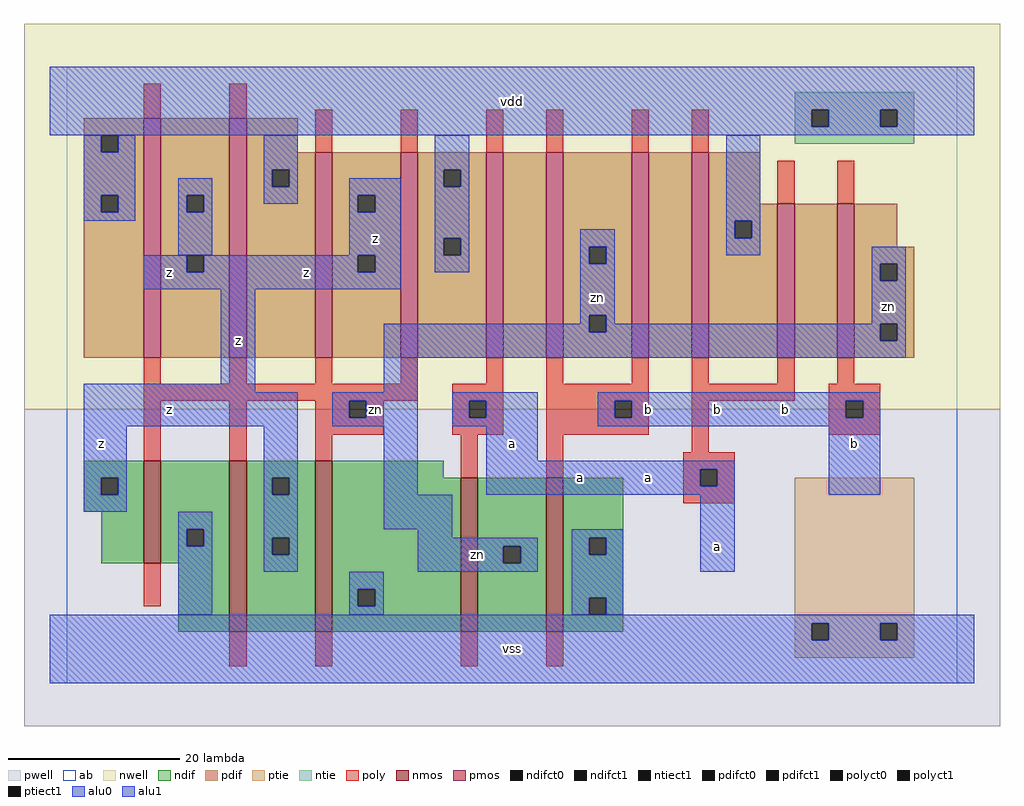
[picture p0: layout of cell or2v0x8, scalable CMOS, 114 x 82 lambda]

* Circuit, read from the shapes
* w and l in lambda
.subckt or2v0x8 a b vdd vss z zn
M1 vss zn z vss nfet w=12 l=2
M2 z zn vss vss nfet w=20 l=2 m=2
M3 zn a vss vss nfet w=18 l=2
M4 vss b zn vss nfet w=18 l=2
M5 z zn vdd vdd pfet w=28 l=2 m=2
M6 z zn vdd vdd pfet w=24 l=2 m=2
M7 n1 a vdd vdd pfet w=24 l=2
M8 zn b n1 vdd pfet w=24 l=2
M9 n2 b zn vdd pfet w=24 l=2
M10 vdd a n2 vdd pfet w=24 l=2
M11 n3 a vdd vdd pfet w=18 l=2
M12 zn b n3 vdd pfet w=18 l=2
.ends

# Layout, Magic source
magic
tech scmos
<< ab >>
rect 0 0 104 72
<< nwell >>
rect -5 32 109 77
<< pwell >>
rect -5 -5 109 32
<< poly >>
rect 9 66 11 70
rect 19 66 21 70
rect 29 62 31 67
rect 39 62 41 67
rect 49 62 51 67
rect 56 62 58 67
rect 66 62 68 67
rect 73 62 75 67
rect 83 56 85 61
rect 90 56 92 61
rect 9 35 11 38
rect 19 35 21 38
rect 29 35 31 38
rect 39 35 41 38
rect 49 35 51 38
rect 9 33 41 35
rect 45 33 51 35
rect 9 26 11 33
rect 19 26 21 33
rect 29 31 33 33
rect 35 31 37 33
rect 29 29 37 31
rect 45 31 47 33
rect 49 31 51 33
rect 45 29 51 31
rect 56 35 58 38
rect 66 35 68 38
rect 56 33 68 35
rect 56 31 64 33
rect 66 31 68 33
rect 56 29 68 31
rect 73 35 75 38
rect 83 35 85 38
rect 90 35 92 38
rect 73 33 85 35
rect 89 33 95 35
rect 29 26 31 29
rect 9 9 11 14
rect 46 24 48 29
rect 56 24 58 29
rect 73 27 75 33
rect 89 31 91 33
rect 93 31 95 33
rect 89 29 95 31
rect 72 25 78 27
rect 72 23 74 25
rect 76 23 78 25
rect 72 21 78 23
rect 19 2 21 6
rect 29 2 31 6
rect 46 2 48 6
rect 56 2 58 6
<< ndif >>
rect 2 24 9 26
rect 2 22 4 24
rect 6 22 9 24
rect 2 20 9 22
rect 4 14 9 20
rect 11 18 19 26
rect 11 16 14 18
rect 16 16 19 18
rect 11 14 19 16
rect 13 6 19 14
rect 21 24 29 26
rect 21 22 24 24
rect 26 22 29 24
rect 21 17 29 22
rect 21 15 24 17
rect 26 15 29 17
rect 21 6 29 15
rect 31 24 44 26
rect 31 11 46 24
rect 31 9 34 11
rect 36 9 46 11
rect 31 6 46 9
rect 48 16 56 24
rect 48 14 51 16
rect 53 14 56 16
rect 48 6 56 14
rect 58 17 65 24
rect 58 15 61 17
rect 63 15 65 17
rect 58 10 65 15
rect 58 8 61 10
rect 63 8 65 10
rect 58 6 65 8
<< pdif >>
rect 2 64 9 66
rect 2 62 4 64
rect 6 62 9 64
rect 2 57 9 62
rect 2 55 4 57
rect 6 55 9 57
rect 2 38 9 55
rect 11 57 19 66
rect 11 55 14 57
rect 16 55 19 57
rect 11 50 19 55
rect 11 48 14 50
rect 16 48 19 50
rect 11 38 19 48
rect 21 62 27 66
rect 21 60 29 62
rect 21 58 24 60
rect 26 58 29 60
rect 21 38 29 58
rect 31 57 39 62
rect 31 55 34 57
rect 36 55 39 57
rect 31 50 39 55
rect 31 48 34 50
rect 36 48 39 50
rect 31 38 39 48
rect 41 60 49 62
rect 41 58 44 60
rect 46 58 49 60
rect 41 52 49 58
rect 41 50 44 52
rect 46 50 49 52
rect 41 38 49 50
rect 51 38 56 62
rect 58 51 66 62
rect 58 49 61 51
rect 63 49 66 51
rect 58 43 66 49
rect 58 41 61 43
rect 63 41 66 43
rect 58 38 66 41
rect 68 38 73 62
rect 75 56 81 62
rect 75 54 83 56
rect 75 52 78 54
rect 80 52 83 54
rect 75 38 83 52
rect 85 38 90 56
rect 92 51 97 56
rect 92 49 99 51
rect 92 47 95 49
rect 97 47 99 49
rect 92 42 99 47
rect 92 40 95 42
rect 97 40 99 42
rect 92 38 99 40
<< alu1 >>
rect -2 67 106 72
rect -2 65 87 67
rect 89 65 95 67
rect 97 65 106 67
rect -2 64 106 65
rect 33 57 39 59
rect 33 55 34 57
rect 36 55 39 57
rect 33 50 39 55
rect 9 48 14 50
rect 16 48 34 50
rect 36 48 39 50
rect 9 46 39 48
rect 18 35 22 46
rect 2 34 22 35
rect 2 30 27 34
rect 45 33 55 34
rect 45 31 47 33
rect 49 31 55 33
rect 45 30 55 31
rect 62 33 95 34
rect 62 31 64 33
rect 66 31 91 33
rect 93 31 95 33
rect 62 30 95 31
rect 2 24 7 30
rect 2 22 4 24
rect 6 22 7 24
rect 2 20 7 22
rect 23 24 27 30
rect 23 22 24 24
rect 26 22 27 24
rect 23 17 27 22
rect 49 26 55 30
rect 49 25 78 26
rect 49 23 74 25
rect 76 23 78 25
rect 49 22 78 23
rect 89 22 95 30
rect 23 15 24 17
rect 26 15 27 17
rect 23 13 27 15
rect 74 13 78 22
rect -2 7 106 8
rect -2 5 87 7
rect 89 5 95 7
rect 97 5 106 7
rect -2 0 106 5
<< ptie >>
rect 85 7 99 24
rect 85 5 87 7
rect 89 5 95 7
rect 97 5 99 7
rect 85 3 99 5
<< ntie >>
rect 85 67 99 69
rect 85 65 87 67
rect 89 65 95 67
rect 97 65 99 67
rect 85 63 99 65
<< nmos >>
rect 9 14 11 26
rect 19 6 21 26
rect 29 6 31 26
rect 46 6 48 24
rect 56 6 58 24
<< pmos >>
rect 9 38 11 66
rect 19 38 21 66
rect 29 38 31 62
rect 39 38 41 62
rect 49 38 51 62
rect 56 38 58 62
rect 66 38 68 62
rect 73 38 75 62
rect 83 38 85 56
rect 90 38 92 56
<< polyct0 >>
rect 33 31 35 33
<< polyct1 >>
rect 47 31 49 33
rect 64 31 66 33
rect 91 31 93 33
rect 74 23 76 25
<< ndifct0 >>
rect 14 16 16 18
rect 34 9 36 11
rect 51 14 53 16
rect 61 15 63 17
rect 61 8 63 10
<< ndifct1 >>
rect 4 22 6 24
rect 24 22 26 24
rect 24 15 26 17
<< ntiect1 >>
rect 87 65 89 67
rect 95 65 97 67
<< ptiect1 >>
rect 87 5 89 7
rect 95 5 97 7
<< pdifct0 >>
rect 4 62 6 64
rect 4 55 6 57
rect 14 55 16 57
rect 24 58 26 60
rect 44 58 46 60
rect 44 50 46 52
rect 61 49 63 51
rect 61 41 63 43
rect 78 52 80 54
rect 95 47 97 49
rect 95 40 97 42
<< pdifct1 >>
rect 14 48 16 50
rect 34 55 36 57
rect 34 48 36 50
<< alu0 >>
rect 2 62 4 64
rect 6 62 8 64
rect 2 57 8 62
rect 23 60 27 64
rect 2 55 4 57
rect 6 55 8 57
rect 2 54 8 55
rect 13 57 17 59
rect 13 55 14 57
rect 16 55 17 57
rect 23 58 24 60
rect 26 58 27 60
rect 43 60 47 64
rect 23 56 27 58
rect 13 50 17 55
rect 43 58 44 60
rect 46 58 47 60
rect 43 52 47 58
rect 77 54 81 64
rect 43 50 44 52
rect 46 50 47 52
rect 43 48 47 50
rect 60 51 64 53
rect 60 49 61 51
rect 63 49 64 51
rect 77 52 78 54
rect 80 52 81 54
rect 77 50 81 52
rect 60 43 64 49
rect 60 42 61 43
rect 37 41 61 42
rect 63 42 64 43
rect 94 49 98 51
rect 94 47 95 49
rect 97 47 98 49
rect 94 42 98 47
rect 63 41 95 42
rect 37 40 95 41
rect 97 40 98 42
rect 37 38 98 40
rect 37 34 41 38
rect 31 33 41 34
rect 31 31 33 33
rect 35 31 41 33
rect 31 30 41 31
rect 13 18 17 20
rect 13 16 14 18
rect 16 16 17 18
rect 13 8 17 16
rect 37 22 41 30
rect 37 18 45 22
rect 41 17 45 18
rect 59 17 65 18
rect 41 16 55 17
rect 41 14 51 16
rect 53 14 55 16
rect 41 13 55 14
rect 59 15 61 17
rect 63 15 65 17
rect 33 11 37 13
rect 33 9 34 11
rect 36 9 37 11
rect 33 8 37 9
rect 59 10 65 15
rect 59 8 61 10
rect 63 8 65 10
<< labels >>
rlabel alu0 36 32 36 32 6 zn
rlabel alu0 48 15 48 15 6 zn
rlabel alu0 62 45 62 45 6 zn
rlabel alu0 96 44 96 44 6 zn
rlabel alu1 4 28 4 28 6 z
rlabel alu1 12 32 12 32 6 z
rlabel alu1 20 40 20 40 6 z
rlabel alu1 12 48 12 48 6 z
rlabel alu1 28 48 28 48 6 z
rlabel alu1 36 52 36 52 6 z
rlabel alu1 52 4 52 4 6 vss
rlabel alu1 76 16 76 16 6 a
rlabel alu1 52 28 52 28 6 a
rlabel alu1 76 32 76 32 6 b
rlabel alu1 68 32 68 32 6 b
rlabel alu1 68 24 68 24 6 a
rlabel alu1 60 24 60 24 6 a
rlabel alu1 52 68 52 68 6 vdd
rlabel alu1 84 32 84 32 6 b
rlabel alu1 92 28 92 28 6 b
<< end >>
